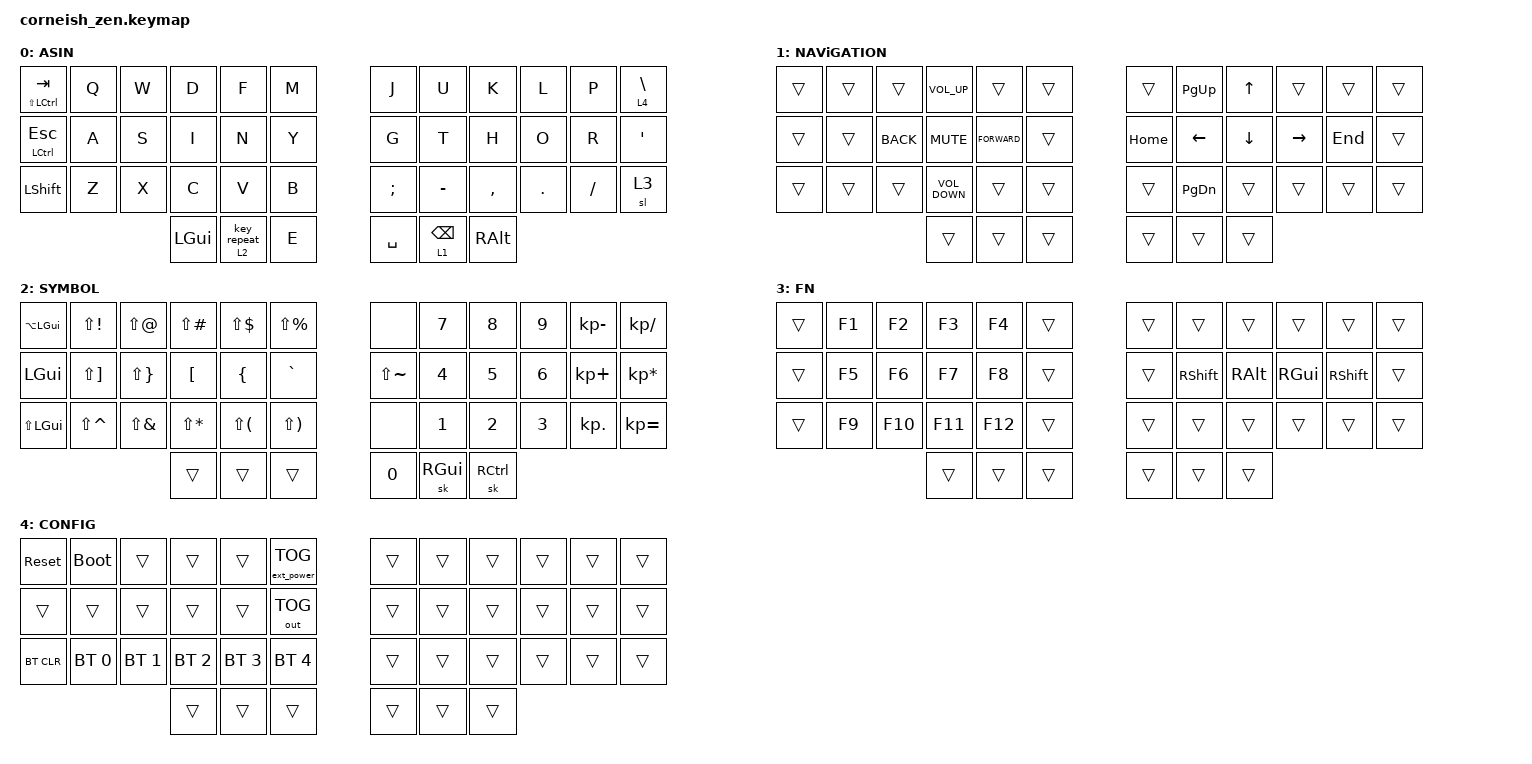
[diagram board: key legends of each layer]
/*
*
* Copyright (c) 2021 Darryl deHaan
* SPDX-License-Identifier: MIT
*
*/

#include <behaviors.dtsi>
#include <dt-bindings/zmk/bt.h>
#include <dt-bindings/zmk/ext_power.h>
#include <dt-bindings/zmk/keys.h>
#include <dt-bindings/zmk/outputs.h>

/ {
    chosen {
        zmk,matrix_transform = &default_transform;

        // zmk,matrix_transform = &five_column_transform;
    };
};

/ {
    combos {
        compatible = "zmk,combos";

        etner {
            bindings = <&kp ENTER>;
            key-positions = <19 20 21>;
        };

        ctrl-enter {
            bindings = <&kp LC(ENTER)>;
            key-positions = <19 20 21 22>;
        };

        backspace {
            bindings = <&kp BACKSPACE>;
            key-positions = <19 20>;
        };

        delete {
            bindings = <&kp DELETE>;
            key-positions = <20 21>;
        };

        escape {
            bindings = <&kp ESC>;
            key-positions = <14 16 15>;
        };

        lock {
            bindings = <&kp LC(ESC)>;
            key-positions = <5 38>;
        };

        tab {
            bindings = <&kp TAB>;
            key-positions = <16 15>;
        };

        shift-tab {
            bindings = <&kp LS(TAB)>;
            key-positions = <14 15>;
        };

        save {
            bindings = <&kp LC(S)>;
            key-positions = <14 16>;
            layers = <0>;
        };
    };

    behaviors {
        morpt: morpt {
            compatible = "zmk,behavior-hold-tap";
            label = "MORPT";
            bindings =
                <&mo>,
                <&key_repeat>;

            #binding-cells = <2>;
            tapping-term-ms = <200>;
            flavor = "hold-preferred";
        };
    };

    keymap {
        compatible = "zmk,keymap";

        default_layer {
            label = "ASIN";

            // --------------------------------------------------------------------------------
            // |  TAB |  Q  |  W  |  E  |  R  |  T  |   |  Y  |  U   |  I  |  O  |  P  | BKSP |
            // | CTRL |  A  |  S  |  D  |  F  |  G  |   |  H  |  J   |  K  |  L  |  ;  |  '   |
            // | SHFT |  Z  |  X  |  C  |  V  |  B  |   |  N  |  M   |  ,  |  .  |  /  | ESC  |
            //                    | GUI | LWR | SPC |   | ENT | RSE  | ALT |

            bindings = <
&mt LS(LCTRL) TAB  &kp Q  &kp W     &kp D       &kp F  &kp M            &kp J            &kp U      &kp K    &kp L     &kp P  &lt 4 BACKSLASH
    &mt LCTRL ESC  &kp A  &kp S     &kp I       &kp N  &kp Y            &kp G            &kp T      &kp H    &kp O     &kp R          &kp SQT
        &kp LSHFT  &kp Z  &kp X     &kp C       &kp V  &kp B    &kp SEMICOLON        &kp MINUS  &kp COMMA  &kp DOT  &kp FSLH            &sl 3
                                 &kp LGUI  &morpt 2 0  &kp E        &kp SPACE  &lt 1 BACKSPACE   &kp RALT
            >;
        };

        Nav {
            bindings = <
&trans  &trans      &trans    &kp C_VOLUME_UP         &trans  &trans      &trans  &kp PG_UP    &kp UP     &trans   &trans  &trans
&trans  &trans  &kp K_BACK         &kp K_MUTE  &kp K_FORWARD  &trans    &kp HOME   &kp LEFT  &kp DOWN  &kp RIGHT  &kp END  &trans
&trans  &trans      &trans  &kp C_VOLUME_DOWN         &trans  &trans      &trans  &kp PG_DN    &trans     &trans   &trans  &trans
                                       &trans         &trans  &trans      &trans     &trans    &trans
            >;

            label = "NAViGATION";
        };

        symbol {
            bindings = <
&kp LA(LEFT_GUI)   &kp LS(EXCL)    &kp LS(AT)  &kp LS(POUND)  &kp LS(DLLR)  &kp LS(PRCNT)            &none         &kp N7     &kp N8  &kp N9  &kp KP_MINUS    &kp KP_DIVIDE
    &kp LEFT_GUI   &kp LS(RBKT)  &kp LS(RBRC)       &kp LBKT      &kp LBRC      &kp GRAVE    &kp LS(TILDE)         &kp N4     &kp N5  &kp N6   &kp KP_PLUS  &kp KP_MULTIPLY
&kp LS(LEFT_GUI)  &kp LS(CARET)  &kp LS(AMPS)   &kp LS(STAR)  &kp LS(LPAR)   &kp LS(RPAR)            &none         &kp N1     &kp N2  &kp N3    &kp KP_DOT     &kp KP_EQUAL
                                                      &trans        &trans         &trans           &kp N0  &sk RIGHT_GUI  &sk RCTRL
            >;

            label = "SYMBOL";
        };

        fn {
            bindings = <
&trans  &kp F1   &kp F2   &kp F3   &kp F4  &trans    &trans     &trans    &trans    &trans      &trans  &trans
&trans  &kp F5   &kp F6   &kp F7   &kp F8  &trans    &trans  &kp RSHFT  &kp RALT  &kp RGUI  &kp RSHIFT  &trans
&trans  &kp F9  &kp F10  &kp F11  &kp F12  &trans    &trans     &trans    &trans    &trans      &trans  &trans
                          &trans   &trans  &trans    &trans     &trans    &trans
            >;

            label = "FN";
        };

        Configuration {
            bindings = <
&sys_reset   &bootloader        &trans        &trans        &trans  &ext_power EP_TOG    &trans  &trans  &trans  &trans  &trans  &trans
    &trans        &trans        &trans        &trans        &trans       &out OUT_TOG    &trans  &trans  &trans  &trans  &trans  &trans
&bt BT_CLR  &bt BT_SEL 0  &bt BT_SEL 1  &bt BT_SEL 2  &bt BT_SEL 3       &bt BT_SEL 4    &trans  &trans  &trans  &trans  &trans  &trans
                                              &trans        &trans             &trans    &trans  &trans  &trans
            >;

            label = "CONFIG";
        };
    };
};
